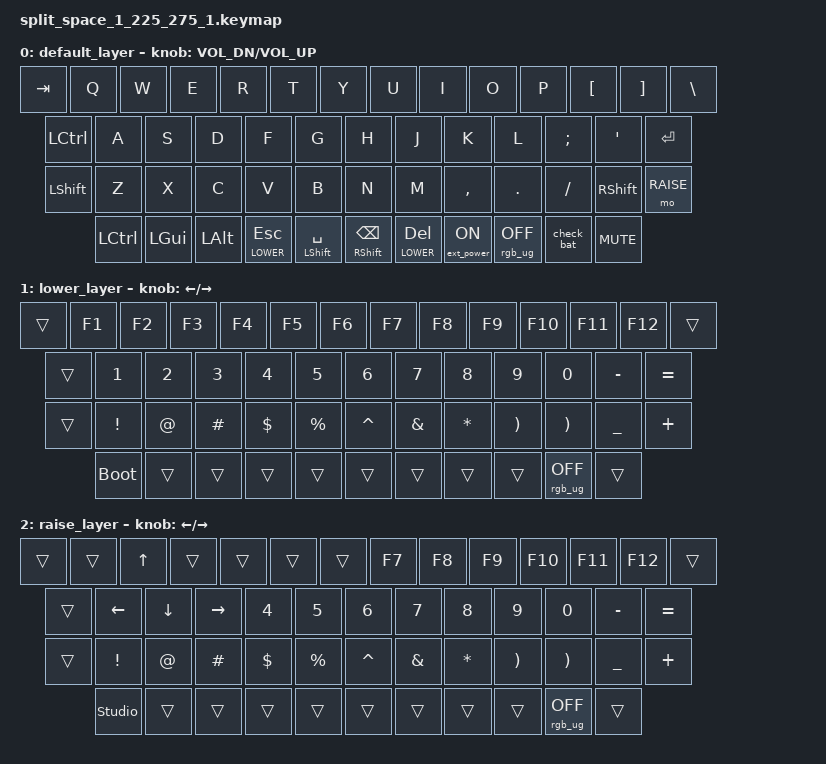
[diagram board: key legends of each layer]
/*
 * Copyright (c) 2022 The ZMK Contributors
 *
 * SPDX-License-Identifier: MIT
 */

#include <behaviors.dtsi>
#include <dt-bindings/zmk/keys.h>
#include <dt-bindings/zmk/bt.h>
#include <dt-bindings/zmk/outputs.h>
#include <dt-bindings/zmk/ext_power.h>
#include <dt-bindings/zmk/rgb.h>

#define DEFAULT 0
#define LOWER   1
#define RAISE   2

&lt { quick-tap-ms = <200>; };
&mt { quick-tap-ms = <200>; };


/ {
  chosen {
    zmk,physical-layout = &split_space_1_225_275_1_transform;
  };
};

/ {
    keymap {
        compatible = "zmk,keymap";
        default_layer {
            bindings = <
                &kp TAB   &kp Q     &kp W     &kp E     &kp R     &kp T     &kp Y     &kp U     &kp I     &kp O     &kp P     &kp LBKT  &kp RBKT  &kp BSLH
                &kp LCTRL    &kp A     &kp S     &kp D     &kp F     &kp G     &kp H     &kp J     &kp K     &kp L     &kp SCLN  &kp QUOT          &kp ENTER
                &kp LSHFT     &kp Z     &kp X     &kp C     &kp V     &kp B     &kp N     &kp M     &kp COMMA &kp DOT   &kp FSLH        &kp RSHFT &mo RAISE
                &kp LCTRL &kp LGUI &kp LALT            &lt LOWER ESC      &mt LSHFT SPACE         &mt RSHFT BSPC       &lt LOWER DEL       &ext_power EP_ON &rgb_ug RGB_OFF &check_bat          &kp C_MUTE
            >;
            sensor-bindings = <&inc_dec_kp C_VOL_DN C_VOL_UP>;
        };

        lower_layer {
            bindings = <
                &trans   &kp F1  &kp F2  &kp  F3 &kp F4   &kp F5  &kp F6   &kp  F7 &kp F8  &kp  F9  &kp F10   &kp F11   &kp F12  &trans 
                &trans      &kp N1  &kp N2  &kp N3  &kp  N4  &kp N5   &kp N6   &kp  N7 &kp N8  &kp N9  &kp N0  &kp   MINUS    &kp EQUAL
                &trans         &kp  EXCL &kp AT  &kp  HASH   &kp DLLR  &kp   PRCNT &kp CARET   &kp AMPS   &kp  STAR &kp RPAR   &kp RPAR  &kp UNDER &kp PLUS
                &bootloader &trans   &trans            &trans      &trans       &trans        &trans         &trans  &trans   &rgb_ug RGB_OFF                  &trans           
            >;
            sensor-bindings = <&inc_dec_kp LEFT RIGHT>;
        };
                raise_layer {
            bindings = <
                &trans   &trans  &kp UP  &trans &trans   &trans &trans  &kp  F7 &kp F8  &kp  F9  &kp F10   &kp F11   &kp F12  &trans 
                &trans      &kp LEFT  &kp DOWN  &kp RIGHT  &kp  N4  &kp N5   &kp N6   &kp  N7 &kp N8  &kp N9  &kp N0  &kp   MINUS    &kp EQUAL
                &trans         &kp  EXCL &kp AT  &kp  HASH   &kp DLLR  &kp   PRCNT &kp CARET   &kp AMPS   &kp  STAR &kp RPAR   &kp RPAR  &kp UNDER &kp PLUS
                &studio_unlock &trans   &trans            &trans      &trans       &trans        &trans         &trans  &trans   &rgb_ug RGB_OFF                  &trans           
            >;
            sensor-bindings = <&inc_dec_kp LEFT RIGHT>;
        };
    };
};


